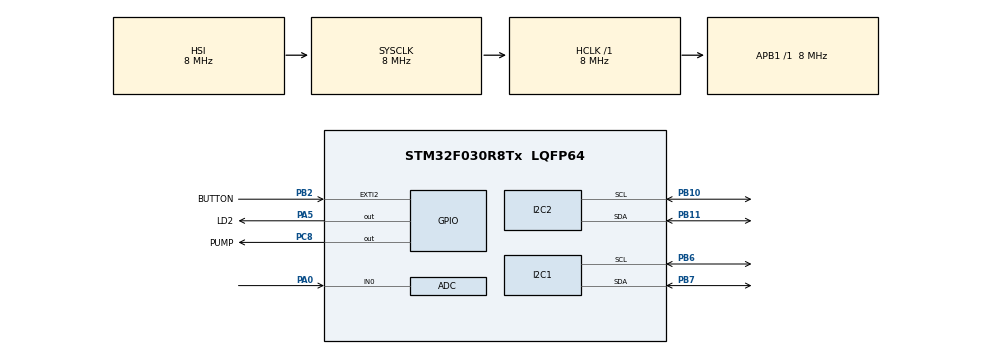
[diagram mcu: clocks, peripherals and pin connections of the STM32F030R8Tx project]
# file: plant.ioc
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ADC.ContinuousConvMode=ENABLE
Mcu.Family=STM32F0
Mcu.Name=STM32F030R8Tx
Mcu.Package=LQFP64
NVIC.EXTI2_3_IRQn=true\:0\:0\:false\:false\:true\:true\:true
NVIC.TIM16_IRQn=true\:0\:0\:false\:false\:true\:true\:true
NVIC.TIM17_IRQn=true\:0\:0\:false\:false\:true\:true\:true
PA0.Mode=IN0
PA0.Signal=ADC_IN0
PA5.GPIO_Label=LD2
PA5.GPIO_ModeDefaultOutputPP=GPIO_MODE_OUTPUT_PP
PA5.Signal=GPIO_Output
PB10.Mode=I2C
PB10.Signal=I2C2_SCL
PB11.Mode=I2C
PB11.Signal=I2C2_SDA
PB2.GPIO_Label=BUTTON
PB2.GPIO_ModeDefaultEXTI=GPIO_MODE_IT_RISING_FALLING
PB2.Signal=GPXTI2
PB6.Mode=I2C
PB6.Signal=I2C1_SCL
PB7.Mode=I2C
PB7.Signal=I2C1_SDA
PC8.GPIO_Label=PUMP
PC8.PinState=GPIO_PIN_RESET
PC8.Signal=GPIO_Output
ProjectManager.HeapSize=0x200
ProjectManager.StackSize=0x400
ProjectManager.TargetToolchain=STM32CubeIDE
RCC.AHBFreq_Value=8000000
RCC.APB1Freq_Value=8000000
RCC.APB1TimFreq_Value=8000000
RCC.HCLKFreq_Value=8000000
RCC.SYSCLKFreq_VALUE=8000000
TIM16.AutoReloadPreload=TIM_AUTORELOAD_PRELOAD_ENABLE
TIM16.Period=60999
TIM16.Prescaler=799
TIM16.RepetitionCounter=1
TIM17.Period=10099
TIM17.Prescaler=799
TIM17.RepetitionCounter=1
VP_TIM16_VS_ClockSourceINT.Mode=Enable_Timer
VP_TIM17_VS_ClockSourceINT.Mode=Enable_Timer
board=custom

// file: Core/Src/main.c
/* USER CODE BEGIN Header */
/**
 ******************************************************************************
 * @file           : main.c
 * @brief          : Main program body
 ******************************************************************************
 * @attention
 *
 * <h2><center>&copy; Copyright (c) 2021 STMicroelectronics.
 * All rights reserved.</center></h2>
 *
 * This software component is licensed by ST under BSD 3-Clause license,
 * the "License"; You may not use this file except in compliance with the
 * License. You may obtain a copy of the License at:
 *                        opensource.org/licenses/BSD-3-Clause
 *
 ******************************************************************************
 */
/* USER CODE END Header */
#include "main.h"
#include "adc.h"
#include "i2c.h"
#include "tim.h"
#include "gpio.h"

/* USER CODE BEGIN Includes */
#include "lcd_i2c.h"
#include <stdbool.h>
#include <stdio.h>
#include "bmp280.h"
#include <stdbool.h>
/* USER CODE END Includes */

/* USER CODE BEGIN PD */
#define MIN_SOIL_HUMIDITY 3500
/* USER CODE END PD */

/* USER CODE BEGIN PV */
// bosch sensor
BMP280_HandleTypedef bmp280;
float pressure, temperature, humidity;
char pressure_s[6];
char temperature_s[6];

// soil sensor
uint32_t soil_humidity = 4096;
char soil_humidity_s[6];

// lcd 16x2 display
struct lcd_disp disp;
/* USER CODE END PV */

void SystemClock_Config(void);

/* USER CODE BEGIN 0 */

// helper functions
uint16_t clamp(float input, uint16_t min, uint16_t max) {
	return input < min ? min : input > max ? max : input;
}
float map(uint16_t current, uint16_t in_min, uint16_t in_max, uint16_t out_min,
		uint16_t out_max) {
	float mapped = ((current - in_min) * (out_max - out_min))
			/ (in_max - in_min) + out_min;
	return clamp(mapped, out_min, out_max);
}
/* USER CODE END 0 */

int main(void)
{

  /* MCU Configuration--------------------------------------------------------*/

  /* Reset of all peripherals, Initializes the Flash interface and the Systick. */
  HAL_Init();

  /* Configure the system clock */
  SystemClock_Config();

  /* Initialize all configured peripherals */
  MX_GPIO_Init();
  MX_ADC_Init();
  MX_I2C1_Init();
  MX_I2C2_Init();
  MX_TIM16_Init();
  MX_TIM17_Init();
  /* USER CODE BEGIN 2 */

	// init display (i2c)

	HAL_ADC_Start(&hadc);
	disp.addr = (0x27 << 1);
	disp.bl = true;
	lcd_init(&disp);

	// init bosch sensor (i2c)
	bmp280_init_default_params(&bmp280.params);
	bmp280.addr = BMP280_I2C_ADDRESS_0;
	bmp280.i2c = &hi2c2;

	while (!bmp280_init(&bmp280, &bmp280.params)) {
		HAL_Delay(2000);
	}
	HAL_TIM_Base_Start_IT(&htim16);

  /* USER CODE END 2 */

  /* Infinite loop */
  /* USER CODE BEGIN WHILE */
	while (1) {
		HAL_ADC_PollForConversion(&hadc, 1000);
		soil_humidity = HAL_ADC_GetValue(&hadc);

		char soil_value_s[6];
		gcvt(100 - map(soil_humidity, 1400, 4095, 0, 100), 4, soil_value_s);
		sprintf((char*) disp.f_line, "H: %s%%", soil_value_s);
		lcd_display(&disp);

    /* USER CODE END WHILE */

    /* USER CODE BEGIN 3 */
		while (!bmp280_read_float(&bmp280, &temperature, &pressure, &humidity)) {
			HAL_Delay(2000);
		}
		char temperature_s[6];
		gcvt(temperature, 2, temperature_s);
		char pressure_s[6];
		gcvt(pressure / 100, 4, pressure_s);

		sprintf((char*) disp.s_line, "T:%sC P:%shPa", temperature_s,
				pressure_s);
		lcd_display(&disp);

		HAL_Delay(1000);
	}
  /* USER CODE END 3 */
}

void SystemClock_Config(void)
{
  RCC_OscInitTypeDef RCC_OscInitStruct = {0};
  RCC_ClkInitTypeDef RCC_ClkInitStruct = {0};
  RCC_PeriphCLKInitTypeDef PeriphClkInit = {0};

  /** Initializes the RCC Oscillators according to the specified parameters
  * in the RCC_OscInitTypeDef structure.
  */
  RCC_OscInitStruct.OscillatorType = RCC_OSCILLATORTYPE_HSI|RCC_OSCILLATORTYPE_HSI14;
  RCC_OscInitStruct.HSIState = RCC_HSI_ON;
  RCC_OscInitStruct.HSI14State = RCC_HSI14_ON;
  RCC_OscInitStruct.HSICalibrationValue = RCC_HSICALIBRATION_DEFAULT;
  RCC_OscInitStruct.HSI14CalibrationValue = 16;
  RCC_OscInitStruct.PLL.PLLState = RCC_PLL_NONE;
  if (HAL_RCC_OscConfig(&RCC_OscInitStruct) != HAL_OK)
  {
    Error_Handler();
  }
  /** Initializes the CPU, AHB and APB buses clocks
  */
  RCC_ClkInitStruct.ClockType = RCC_CLOCKTYPE_HCLK|RCC_CLOCKTYPE_SYSCLK
                              |RCC_CLOCKTYPE_PCLK1;
  RCC_ClkInitStruct.SYSCLKSource = RCC_SYSCLKSOURCE_HSI;
  RCC_ClkInitStruct.AHBCLKDivider = RCC_SYSCLK_DIV1;
  RCC_ClkInitStruct.APB1CLKDivider = RCC_HCLK_DIV1;

  if (HAL_RCC_ClockConfig(&RCC_ClkInitStruct, FLASH_LATENCY_0) != HAL_OK)
  {
    Error_Handler();
  }
  PeriphClkInit.PeriphClockSelection = RCC_PERIPHCLK_I2C1;
  PeriphClkInit.I2c1ClockSelection = RCC_I2C1CLKSOURCE_HSI;
  if (HAL_RCCEx_PeriphCLKConfig(&PeriphClkInit) != HAL_OK)
  {
    Error_Handler();
  }
}

/* USER CODE BEGIN 4 */

void HAL_GPIO_EXTI_Callback(uint16_t GPIO_Pin) {
	// water via button
	while(HAL_GPIO_ReadPin(BUTTON_GPIO_Port, BUTTON_Pin) == GPIO_PIN_SET) {
		HAL_GPIO_WritePin(PUMP_GPIO_Port, PUMP_Pin, GPIO_PIN_RESET);
	}
	HAL_GPIO_WritePin(PUMP_GPIO_Port, PUMP_Pin, GPIO_PIN_SET);
}

void HAL_TIM_PeriodElapsedCallback(TIM_HandleTypeDef *htim) {
	// time to check soil
	// TODO adjust timer to be called once in an hour
	if (htim->Instance == TIM16) {
		// 4095 - without water
		// 1400 - in water
		if (soil_humidity > MIN_SOIL_HUMIDITY) {
			HAL_GPIO_WritePin(PUMP_GPIO_Port, PUMP_Pin, GPIO_PIN_SET);
			HAL_TIM_Base_Start_IT(&htim17);
		}
	} else if (htim->Instance == TIM17) {
		// turn off the punp
		HAL_GPIO_WritePin(PUMP_GPIO_Port, PUMP_Pin, GPIO_PIN_RESET);
		HAL_TIM_Base_Stop_IT(&htim17);
	}
	return;
}
/* USER CODE END 4 */

void Error_Handler(void)
{
	__disable_irq();
	while (1) {
	}
}

/************************ (C) COPYRIGHT STMicroelectronics *****END OF FILE****/
